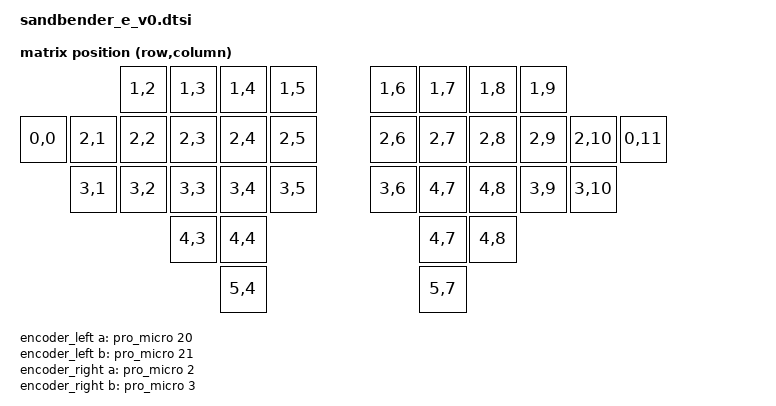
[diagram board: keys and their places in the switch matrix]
#include <dt-bindings/zmk/matrix_transform.h>

/ {
    chosen {
        zmk,kscan = &kscan0;
        zmk,matrix_transform = &default_transform;
    };

    default_transform: keymap_transform_0 {
        compatible = "zmk,matrix-transform";
        rows = <5>;
        columns = <11>;

        map = <
                RC(1,2) RC(1,3) RC(1,4) RC(1,5)          RC(1,6) RC(1,7) RC(1,8) RC(1,9)
RC(0,0) RC(2,1) RC(2,2) RC(2,3) RC(2,4) RC(2,5)          RC(2,6) RC(2,7) RC(2,8) RC(2,9) RC(2,10) RC(0,11)
        RC(3,1) RC(3,2) RC(3,3) RC(3,4) RC(3,5)          RC(3,6) RC(4,7) RC(4,8) RC(3,9) RC(3,10)
                        RC(4,3) RC(4,4)                          RC(4,7) RC(4,8)
                                RC(5,4)                          RC(5,7)
        >;
    };

    kscan0: kscan {
        compatible = "zmk,kscan-gpio-matrix";
    };

    encoder_left: encoder_left {
        compatible = "alps,ec11";
        a-gpios = <&pro_micro 20 (GPIO_ACTIVE_HIGH | GPIO_PULL_UP)>;
        b-gpios = <&pro_micro 21 (GPIO_ACTIVE_HIGH | GPIO_PULL_UP)>;
        steps = <30>;
        status = "disabled";
    };

    encoder_right: encoder_right {
        compatible = "alps,ec11";
        a-gpios = <&pro_micro 2 (GPIO_ACTIVE_HIGH | GPIO_PULL_UP)>;
        b-gpios = <&pro_micro 3 (GPIO_ACTIVE_HIGH | GPIO_PULL_UP)>;
        steps = <30>;
        status = "disabled";
    };

    sensors: sensors {
        compatible = "zmk,keymap-sensors";
        sensors = <&encoder_left &encoder_right>;
        triggers-per-rotation = <15>;
    };
};
